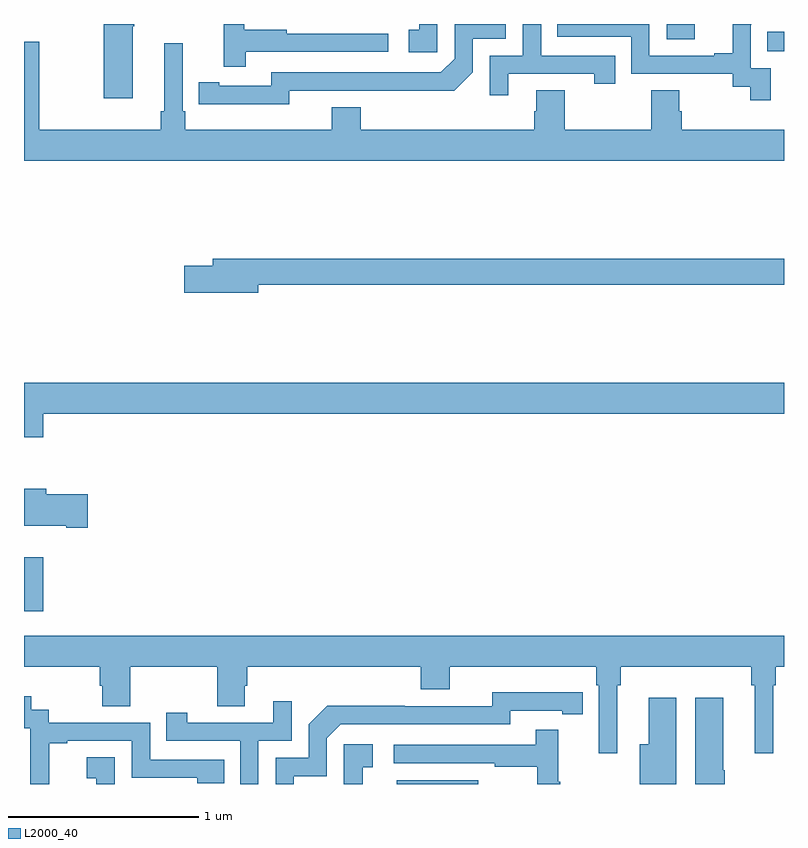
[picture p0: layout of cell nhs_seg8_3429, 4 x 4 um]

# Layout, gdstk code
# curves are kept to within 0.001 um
import gdstk
lib = gdstk.Library(unit=1e-6, precision=1e-09)
def R(c, l, rs):  # rectangles x0, y0, x1, y1
    for r in rs: c.add(gdstk.rectangle(r[:2], r[2:], *l))
def P(c, l, *ps):  # polygons
    for p in ps: c.add(gdstk.Polygon(p, *l))
L2000_40 = (2000, 40)

nhs_seg8_3429 = lib.new_cell('nhs_seg8_3429')
R(nhs_seg8_3429, L2000_40, [(324.962,1099.9,325.39,1099.921), (323,1100.808,323.102,1101.094), (326.911,1103.757,327,1103.858), (326.382,1103.82,326.53,1103.9)])
P(nhs_seg8_3429, L2000_40, [(323.572,1103.887),(323.58,1103.887),(323.58,1103.9),(323.419,1103.9),(323.419,1103.508),(323.572,1103.508)],
  [(325.176,1103.9),(325.079,1103.9),(325.079,1103.871),(325.026,1103.871),(325.026,1103.751),(325.176,1103.751)],
  [(324.396,1103.55),(325.264,1103.549),(325.362,1103.646),(325.362,1103.823),(325.536,1103.823),(325.536,1103.9),(325.266,1103.9),(325.266,1103.718),(325.194,1103.646),(324.3,1103.646),(324.3,1103.574),(324.028,1103.574),(324.028,1103.594),(323.92,1103.594),(323.92,1103.478),(324.396,1103.477)],
  [(324.167,1103.754),(324.916,1103.754),(324.916,1103.85),(324.383,1103.85),(324.383,1103.87),(324.16,1103.87),(324.16,1103.9),(324.05,1103.9),(324.05,1103.676),(324.167,1103.676)],
  [(326.931,1103.667),(326.826,1103.667),(326.826,1103.897),(326.828,1103.897),(326.828,1103.9),(326.729,1103.9),(326.729,1103.746),(326.633,1103.746),(326.633,1103.733),(326.292,1103.733),(326.292,1103.9),(325.807,1103.9),(325.807,1103.832),(326.196,1103.832),(326.196,1103.637),(326.73,1103.637),(326.73,1103.569),(326.823,1103.569),(326.823,1103.499),(326.931,1103.499)],
  [(325.549,1103.637),(326,1103.637),(326,1103.586),(326.111,1103.586),(326.111,1103.733),(325.722,1103.733),(325.722,1103.9),(325.626,1103.9),(325.626,1103.733),(325.452,1103.733),(325.452,1103.526),(325.549,1103.526)],
  [(327,1103.344),(326.462,1103.344),(326.462,1103.442),(326.449,1103.442),(326.449,1103.552),(326.302,1103.552),(326.302,1103.344),(325.845,1103.344),(325.845,1103.552),(325.697,1103.552),(325.697,1103.442),(325.685,1103.442),(325.685,1103.344),(324.773,1103.344),(324.773,1103.461),(324.62,1103.461),(324.62,1103.344),(323.849,1103.344),(323.849,1103.44),(323.835,1103.44),(323.835,1103.8),(323.738,1103.8),(323.738,1103.44),(323.719,1103.44),(323.719,1103.344),(323.079,1103.344),(323.079,1103.806),(323,1103.806),(323,1103.18),(327,1103.18)],
  [(324.232,1102.528),(327,1102.528),(327,1102.664),(323.993,1102.664),(323.993,1102.628),(323.844,1102.628),(323.844,1102.486),(324.232,1102.486)],
  [(323.102,1101.848),(327,1101.848),(327,1102.012),(323,1102.012),(323,1101.724),(323.102,1101.724)],
  [(323.335,1101.426),(323.117,1101.426),(323.117,1101.454),(323,1101.454),(323,1101.26),(323.222,1101.26),(323.222,1101.248),(323.335,1101.248)],
  [(326.122,1100.42),(326.141,1100.42),(326.141,1100.516),(326.827,1100.516),(326.827,1100.42),(326.846,1100.42),(326.846,1100.061),(326.943,1100.061),(326.943,1100.42),(326.957,1100.42),(326.957,1100.516),(327,1100.516),(327,1100.68),(323,1100.68),(323,1100.516),(323.399,1100.516),(323.399,1100.418),(323.411,1100.418),(323.411,1100.308),(323.559,1100.308),(323.559,1100.516),(324.016,1100.516),(324.016,1100.308),(324.163,1100.308),(324.163,1100.418),(324.176,1100.418),(324.176,1100.516),(325.088,1100.516),(325.088,1100.399),(325.24,1100.399),(325.24,1100.516),(326.012,1100.516),(326.012,1100.42),(326.025,1100.42),(326.025,1100.061),(326.122,1100.061)],
  [(324.421,1099.941),(324.594,1099.941),(324.594,1100.142),(324.666,1100.214),(325.56,1100.214),(325.56,1100.286),(325.832,1100.286),(325.832,1100.266),(325.94,1100.266),(325.94,1100.382),(325.464,1100.383),(325.464,1100.31),(325.004,1100.31),(325.004,1100.312),(324.596,1100.312),(324.498,1100.214),(324.498,1100.037),(324.324,1100.037),(324.324,1099.9),(324.421,1099.9)],
  [(323.132,1100.115),(323.227,1100.115),(323.227,1100.127),(323.568,1100.127),(323.568,1099.932),(323.913,1099.932),(323.913,1099.905),(324.053,1099.905),(324.053,1100.028),(323.664,1100.028),(323.664,1100.223),(323.13,1100.223),(323.13,1100.292),(323.038,1100.292),(323.038,1100.362),(323,1100.362),(323,1100.193),(323.034,1100.193),(323.034,1099.964),(323.033,1099.964),(323.033,1099.9),(323.132,1099.9)],
  [(326.688,1099.973),(326.68,1099.973),(326.68,1100.353),(326.534,1100.353),(326.534,1099.9),(326.688,1099.9)],
  [(326.434,1100.353),(326.288,1100.353),(326.288,1100.11),(326.24,1100.11),(326.24,1099.9),(326.434,1099.9)],
  [(324.234,1100.127),(324.408,1100.127),(324.408,1100.335),(324.311,1100.335),(324.311,1100.223),(323.86,1100.223),(323.86,1100.275),(323.749,1100.275),(323.749,1100.127),(324.138,1100.127),(324.138,1099.9),(324.234,1099.9)],
  [(325.822,1099.913),(325.811,1099.913),(325.811,1100.185),(325.693,1100.185),(325.693,1100.106),(324.945,1100.106),(324.945,1100.01),(325.477,1100.01),(325.477,1099.99),(325.701,1099.99),(325.701,1099.9),(325.822,1099.9)],
  [(324.782,1099.989),(324.835,1099.989),(324.835,1100.11),(324.684,1100.11),(324.684,1099.9),(324.782,1099.9)],
  [(323.478,1100.041),(323.331,1100.041),(323.331,1099.931),(323.38,1099.931),(323.38,1099.9),(323.478,1099.9)])

lib.write_gds('nhs_seg8_3429.gds')
